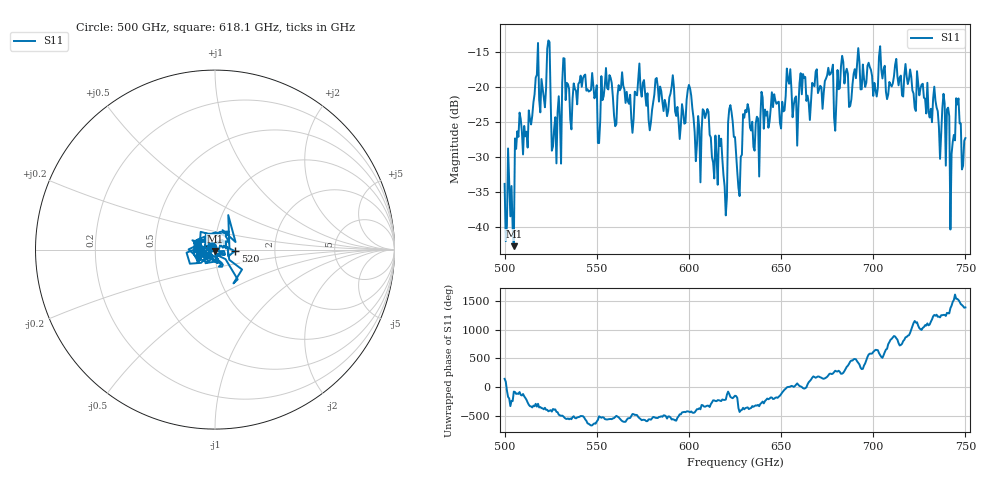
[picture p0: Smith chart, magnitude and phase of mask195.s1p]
!Created with skrf (http://scikit-rf.org).
# GHz S MA R 50.0
!freq magS11 angS11
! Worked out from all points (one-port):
!   401 points, 500 GHz to 750 GHz, reference 50 ohm
!   lowest |S11| = -42.8 dB at 505 GHz (marker M1), VSWR 1.01, Z = 50.1 - j0.715 ohm
!   |S11| at or under -10 dB: start of sweep to end of sweep
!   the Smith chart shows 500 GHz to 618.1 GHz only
!   S11 on the Smith chart (normalised r, x): 500 GHz: 0.97, +0.02; 520 GHz: 1.26, -0.02; 618.1 GHz: 0.95, +0.03
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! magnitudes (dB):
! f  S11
! 500 GHz  -33.9
! 505 GHz  -42.8
! 506.9 GHz  -26.4
! 520 GHz  -18.9
! 523.8 GHz  -13.4
! 526.9 GHz  -26.0
! 531.2 GHz  -19.4
! 562.5 GHz  -20.5
! 579.4 GHz  -25.1
! 590.6 GHz  -20.0
! 593.8 GHz  -22.9
! 600 GHz  -19.7
! 605 GHz  -24.2
! 609.4 GHz  -23.9
! 618.1 GHz  -30.3
! 619.4 GHz  -34.2
! 622.5 GHz  -22.6
! 625 GHz  -27.2
! 627.5 GHz  -35.6
! 630.6 GHz  -23.3
! 636.9 GHz  -24.3
! 656.2 GHz  -24.3
! 687.5 GHz  -22.7
! 718.8 GHz  -19.6
! 739.4 GHz  -31.3
! 743.1 GHz  -27.9
! 746.2 GHz  -21.7
! 750 GHz  -27.3
